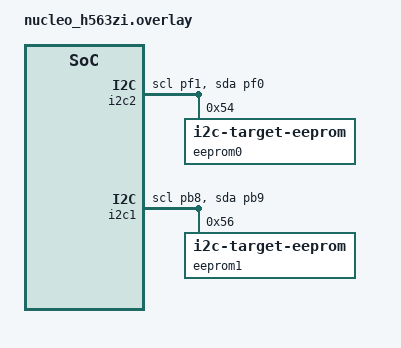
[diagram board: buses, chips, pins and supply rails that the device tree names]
/*
 * Copyright (c) 2020 Nordic Semiconductor ASA
 * SPDX-License-Identifier: Apache-2.0
 */

/* I2C bus pins are exposed on the ST morpho header.
 *
 *  Bus        SDA               SCL
 *          Pin   Hdr         Pin   Hdr
 *  i2c1    PB9   CN7:4      PB8   CN7:2
 *  i2c2    PB11  CN10:34    PB10  CN10:32
 *
 * Short Pin PB9 to PB11, and PB8 to PB10, for the test to pass.
 */

&i2c2 {
	pinctrl-0 = <&i2c2_scl_pf1 &i2c2_sda_pf0>;
	pinctrl-names = "default";
	status = "okay";
	eeprom0: eeprom@54 {
		compatible = "zephyr,i2c-target-eeprom";
		reg = <0x54>;
		size = <1024>;
	};
};

&i2c1 {
	pinctrl-0 = <&i2c1_scl_pb8 &i2c1_sda_pb9>;
	pinctrl-names = "default";
	status = "okay";
	eeprom1: eeprom@56 {
		compatible = "zephyr,i2c-target-eeprom";
		reg = <0x56>;
		size = <1024>;
	};
};
